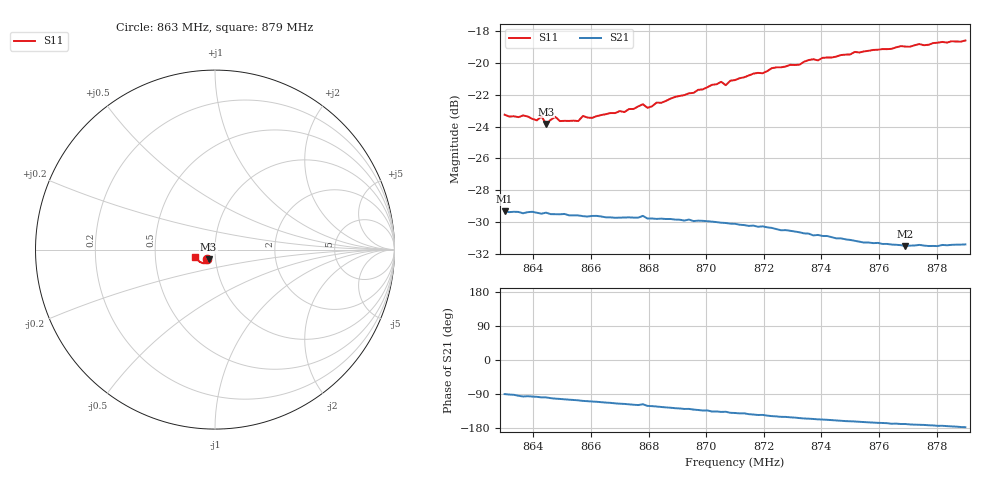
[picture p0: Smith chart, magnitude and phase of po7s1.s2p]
# HZ S RI R 50
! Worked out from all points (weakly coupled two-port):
!   101 points, 863 MHz to 879 MHz, reference 50 ohm
!   highest |S21| = -29.32 dB at 863 MHz (marker M1); lowest = -31.5 dB at 876.92 MHz (marker M2)
!   lowest |S11| = -23.8 dB at 864.44 MHz (marker M3), VSWR 1.14, Z = 46.3 - j4.96 ohm
!   |S11| at or under -10 dB: start of sweep to end of sweep
!   S12 and S22 are empty: the file has one direction only
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8.63e8  -0.0429 -0.0538  1.4e-05 -0.0342  0 0  0 0
8.6364e8  -0.0424 -0.0537  -0.0037 -0.0335  0 0  0 0
8.6412e8  -0.0384 -0.0537  -0.00423 -0.0336  0 0  0 0
8.6428e8  -0.0388 -0.0558  -0.00505 -0.0332  0 0  0 0
8.6444e8  -0.0359 -0.0534  -0.00512 -0.0335  0 0  0 0
8.6476e8  -0.0374 -0.0564  -0.00692 -0.0328  0 0  0 0
8.6492e8  -0.0366 -0.0545  -0.00737 -0.0326  0 0  0 0
8.6556e8  -0.0336 -0.0564  -0.0094 -0.0318  0 0  0 0
8.6572e8  -0.035 -0.0585  -0.0102 -0.0314  0 0  0 0
8.6604e8  -0.0333 -0.0584  -0.0111 -0.0311  0 0  0 0
8.6716e8  -0.0332 -0.0617  -0.0143 -0.0294  0 0  0 0
8.678e8  -0.0394 -0.0628  -0.0149 -0.0295  0 0  0 0
8.6796e8  -0.034 -0.0638  -0.0167 -0.0278  0 0  0 0
8.6844e8  -0.0353 -0.0661  -0.0181 -0.0269  0 0  0 0
8.7052e8  -0.0459 -0.0742  -0.023 -0.0215  0 0  0 0
8.7068e8  -0.0428 -0.0736  -0.0228 -0.0216  0 0  0 0
8.71e8  -0.0473 -0.0746  -0.0239 -0.0202  0 0  0 0
8.7228e8  -0.0594 -0.0758  -0.0257 -0.016  0 0  0 0
8.7372e8  -0.0696 -0.0755  -0.0262 -0.0119  0 0  0 0
8.7644e8  -0.0921 -0.0615  -0.0263 -0.00552  0 0  0 0
8.7692e8  -0.0967 -0.0576  -0.0261 -0.00512  0 0  0 0
8.79e8  -0.1111 -0.0386  -0.0269 -0.00124  0 0  0 0
